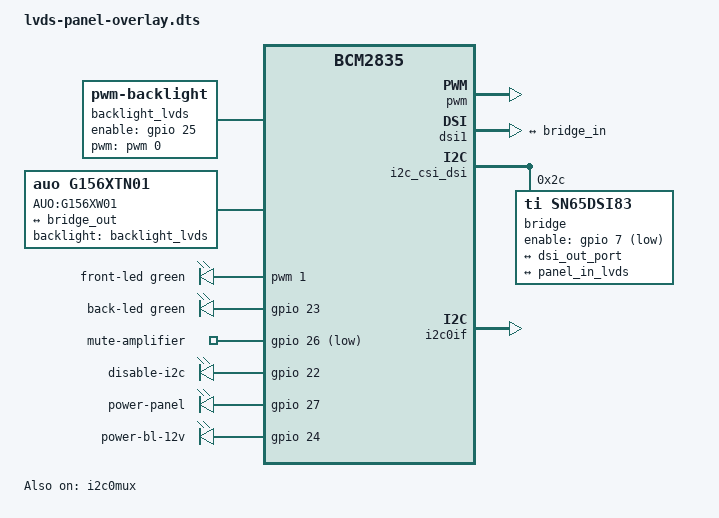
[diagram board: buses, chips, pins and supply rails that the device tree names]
/dts-v1/;
/plugin/;
#include <dt-bindings/gpio/gpio.h>
#include <dt-bindings/leds/common.h>
#include <dt-bindings/pinctrl/bcm2835.h>

/ {
    compatible = "brcm,bcm2835";

    fragment@0 {
        target = <&gpio>;
        __overlay__ {
            pwm_pins: pwm_pins {
                brcm,pins = <12 13>;
                brcm,function = <BCM2835_FSEL_ALT0 BCM2835_FSEL_ALT0>;
            };

			pin_state: button_pins@0 {
				brcm,pins = <3>; // gpio number
				brcm,function = <0>; // 0 = input, 1 = output
				brcm,pull = <2>; // 0 = none, 1 = pull down, 2 = pull up
			};

        };
    };

    fragment@1 {
        target = <&pwm>;
        frag1: __overlay__ {
            pinctrl-names = "default";
            pinctrl-0 = <&pwm_pins>;
            assigned-clock-rates = <100000000>;
            status = "okay";
        };
    };

    fragment@2 {
        target-path = "/";
        __overlay__ {

            backlight_lvds: backlight {
                compatible = "pwm-backlight";
                pwms = <&pwm 0 100000 0>; /* Period of 100 000ns means 10 kHz */
                brightness-levels = <0  1000>;
                num-interpolated-steps = <1000>;
                default-brightness-level = <100>;
                enable-gpios = <&gpio 25 GPIO_ACTIVE_HIGH>; /* Backlight enable... */
            };

            panel: panel {
                compatible = "auo,g156xtn01";
                label = "AUO:G156XW01";
                status = "okay";
                backlight = <&backlight_lvds>;

                port {
                    panel_in_lvds: endpoint {
                        remote-endpoint = <&bridge_out>;
                    };
                };
            };

            led-controller {
                compatible = "pwm-leds";

                led-1 {
                    label = "front-led";
                    color = <LED_COLOR_ID_GREEN>;
                    pwms = <&pwm 1 100000 0>;
                    max-brightness = <1000>;
                };

            };

            run-control {
                compatible = "gpio-leds";

                led-0 {
                    label = "back-led";
                    gpios = <&gpio 23 GPIO_ACTIVE_HIGH>;
                    color = <LED_COLOR_ID_GREEN>;
                    default-state = "off";
                };

                led-1 {
                    label = "mute-amplifier";
                    gpios = <&gpio 26 GPIO_ACTIVE_LOW>;
                    default-state = "off";
                };

                led-2 {
                    label = "disable-i2c";
                    gpios = <&gpio 22 GPIO_ACTIVE_HIGH>;
                    default-state = "off";
                };

                led-3 {
                    label = "power-panel";
                    gpios = <&gpio 27 GPIO_ACTIVE_HIGH>;
                    default-state = "on";
                };

                led-4 {
                    label = "power-bl-12v";
                    gpios = <&gpio 24 GPIO_ACTIVE_HIGH>;
                    default-state = "on";
                };
            };

        };
    };

    fragment@3 {
        target = <&dsi1>;
        __overlay__ {
            #address-cells = <1>;
            #size-cells = <0>;
            status = "okay";
            port {
                dsi_out_port: endpoint {
                    remote-endpoint = <&bridge_in>;
                    data-lanes = <0 1 2>;
                };
            };
        };
    };

    fragment@4 {
        target = <&i2c_csi_dsi>;
        __overlay__ {
            #gpio-cells = <2>;
            #address-cells = <1>;
            #size-cells = <0>;
            status = "okay";

            bridge@2c {
                compatible = "ti,sn65dsi83";
                reg = <0x2c>;
                status = "okay";
                enable-gpios = <&gpio 7 GPIO_ACTIVE_LOW>;  // LVDS_DIS

                ports {
                    #address-cells = <1>;
                    #size-cells = <0>;

                    port@0 {
                        reg = <0>;
                        bridge_in: endpoint {
                            data-lanes = <0 1 2>;
                            remote-endpoint = <&dsi_out_port>;
                        };
                    };

                    port@2 {
                        reg = <2>;
                        bridge_out: endpoint {
                            remote-endpoint = <&panel_in_lvds>;
                        };
                    };
                };
            };
        };
    };

    fragment@5 {
        target = <&i2c0if>;
        __overlay__ {
            status = "okay";
        };
    };

    fragment@6 {
        target = <&i2c0mux>;
        __overlay__ {
            status = "okay";
        };
    };
};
